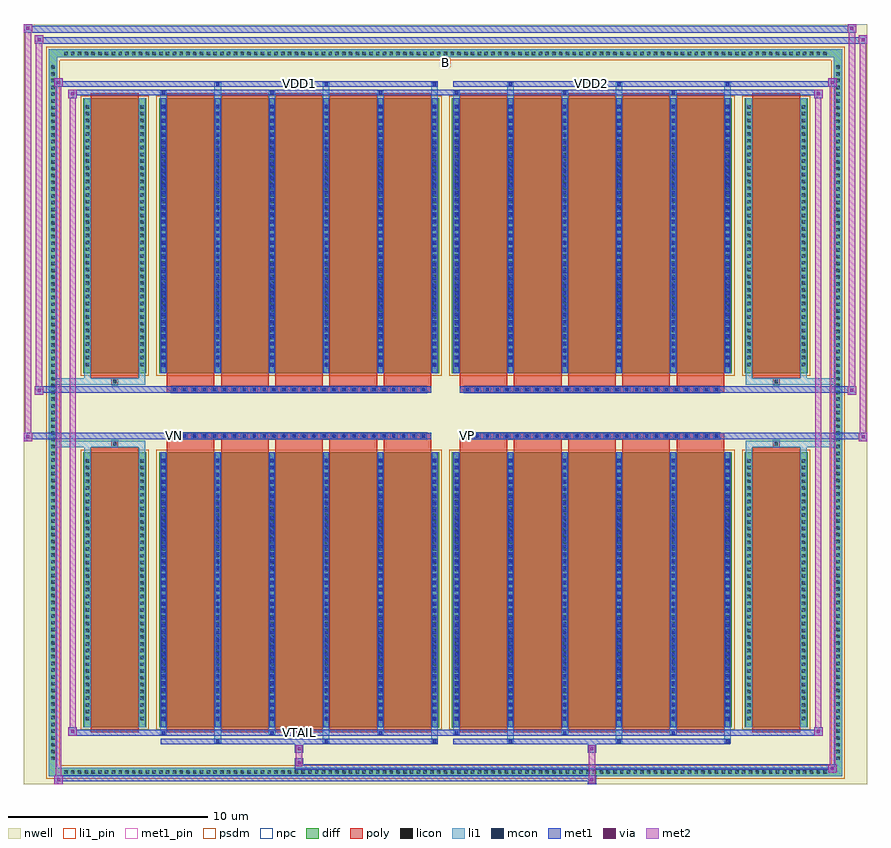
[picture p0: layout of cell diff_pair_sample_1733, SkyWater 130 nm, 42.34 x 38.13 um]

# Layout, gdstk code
import gdstk
lib = gdstk.Library(unit=1e-6, precision=5e-09)
def R(c, l, rs):  # rectangles x0, y0, x1, y1
    for r in rs: c.add(gdstk.rectangle(r[:2], r[2:], *l))
def A(c, l, x, y, w, h, nx, ny, dx, dy):  # array of equal rectangles
    R(c, l, [(x+i*dx, y+j*dy, x+i*dx+w, y+j*dy+h) for i in range(nx) for j in range(ny)])
def P(c, l, *ps):  # polygons
    for p in ps: c.add(gdstk.Polygon(p, *l))
nwell = (64, 20)
diff = (65, 20)
poly = (66, 20)
licon = (66, 44)
li1_pin = (67, 16)
li1 = (67, 20)
mcon = (67, 44)
met1_pin = (68, 16)
met1 = (68, 20)
via = (68, 44)
met2 = (69, 20)
psdm = (94, 20)
npc = (95, 20)

diff_pair_sample_1733 = lib.new_cell('diff_pair_sample_1733')
R(diff_pair_sample_1733, nwell, [(-21.17,-18.63,21.17,19.5), (-18.49,-16.82,-0.01,-0.8), (0.01,-16.82,18.49,-0.8), (-18.49,0.8,-0.01,16.82), (0.01,0.8,18.49,16.82)])
A(diff_pair_sample_1733, diff, -19.245, -18.23, 0.41, 0.41, 113, 2, 0.34, 36.05)
A(diff_pair_sample_1733, diff, -19.9, -17.545, 0.41, 0.41, 1, 103, 0, 0.34)
A(diff_pair_sample_1733, diff, 19.49, -17.545, 0.41, 0.41, 1, 103, 0, 0.34)
R(diff_pair_sample_1733, diff, [(-19.245,-18.23,19.245,-17.82), (-19.9,-17.545,-19.49,17.545), (19.49,-17.545,19.9,17.545), (-18.18,-15.775,-15.01,-1.985), (-14.37,-15.775,-0.32,-1.985), (0.32,-15.775,14.37,-1.985), (15.01,-15.775,18.18,-1.985), (-18.18,1.985,-15.01,15.775), (-14.37,1.985,-0.32,15.775), (0.32,1.985,14.37,15.775), (15.01,1.985,18.18,15.775), (-19.245,17.82,19.245,18.23)])
P(diff_pair_sample_1733, diff, [(19.9,18.23),(-19.9,18.23),(-19.9,-17.82),(-19.49,-17.82),(-19.49,17.82),(19.49,17.82),(19.49,-17.82),(-19.49,-17.82),(-19.9,-17.82),(-19.9,-18.23),(19.9,-18.23)])
A(diff_pair_sample_1733, poly, -13.98, -16.025, 2.39, 14.29, 5, 2, 2.72, 17.76)
A(diff_pair_sample_1733, poly, 0.71, -16.025, 2.39, 14.29, 5, 2, 2.72, 17.76)
A(diff_pair_sample_1733, poly, -13.98, -1.735, 2.39, 0.405, 5, 2, 2.72, 3.065)
A(diff_pair_sample_1733, poly, 0.71, -1.735, 2.39, 0.405, 5, 2, 2.72, 3.065)
A(diff_pair_sample_1733, poly, -13.76, -1.33, 0.33, 0.33, 26, 2, 0.5, 2.33)
A(diff_pair_sample_1733, poly, 0.93, -1.33, 0.33, 0.33, 26, 2, 0.5, 2.33)
R(diff_pair_sample_1733, poly, [(-17.79,-16.025,-15.4,-1.735), (15.4,-16.025,17.79,-1.735), (-16.76,-1.735,-16.43,-1.405), (-16.76,-1.735,-16.43,-1.405), (16.43,-1.735,16.76,-1.405), (16.43,-1.735,16.76,-1.405), (-13.98,-1.33,-0.71,-1), (0.71,-1.33,13.98,-1), (-13.98,1,-0.71,1.33), (0.71,1,13.98,1.33), (-16.76,1.405,-16.43,1.735), (-16.76,1.405,-16.43,1.735), (16.43,1.405,16.76,1.735), (16.43,1.405,16.76,1.735), (-17.79,1.735,-15.4,16.025), (15.4,1.735,17.79,16.025)])
A(diff_pair_sample_1733, licon, -19.125, -18.11, 0.17, 0.17, 113, 2, 0.34, 36.05)
A(diff_pair_sample_1733, licon, -19.78, -17.425, 0.17, 0.17, 1, 103, 0, 0.34)
A(diff_pair_sample_1733, licon, 19.61, -17.425, 0.17, 0.17, 1, 103, 0, 0.34)
A(diff_pair_sample_1733, licon, -18.04, -15.425, 0.17, 0.17, 1, 39, 0, 0.34)
A(diff_pair_sample_1733, licon, -15.32, -15.425, 0.17, 0.17, 1, 39, 0, 0.34)
A(diff_pair_sample_1733, licon, -14.23, -15.425, 0.17, 0.17, 6, 39, 2.72, 0.34)
A(diff_pair_sample_1733, licon, 0.46, -15.425, 0.17, 0.17, 6, 39, 2.72, 0.34)
A(diff_pair_sample_1733, licon, 15.15, -15.425, 0.17, 0.17, 1, 39, 0, 0.34)
A(diff_pair_sample_1733, licon, 17.87, -15.425, 0.17, 0.17, 1, 39, 0, 0.34)
A(diff_pair_sample_1733, licon, -13.68, -1.25, 0.17, 0.17, 26, 2, 0.5, 2.33)
A(diff_pair_sample_1733, licon, 1.01, -1.25, 0.17, 0.17, 26, 2, 0.5, 2.33)
A(diff_pair_sample_1733, licon, -18.04, 2.335, 0.17, 0.17, 1, 39, 0, 0.34)
A(diff_pair_sample_1733, licon, -15.32, 2.335, 0.17, 0.17, 1, 39, 0, 0.34)
A(diff_pair_sample_1733, licon, -14.23, 2.335, 0.17, 0.17, 6, 39, 2.72, 0.34)
A(diff_pair_sample_1733, licon, 0.46, 2.335, 0.17, 0.17, 6, 39, 2.72, 0.34)
A(diff_pair_sample_1733, licon, 15.15, 2.335, 0.17, 0.17, 1, 39, 0, 0.34)
A(diff_pair_sample_1733, licon, 17.87, 2.335, 0.17, 0.17, 1, 39, 0, 0.34)
R(diff_pair_sample_1733, licon, [(-16.68,-1.655,-16.51,-1.485), (16.51,-1.655,16.68,-1.485), (-16.68,1.485,-16.51,1.655), (16.51,1.485,16.68,1.655)])
R(diff_pair_sample_1733, li1_pin, [(-0.25,17.32,0.25,17.82)])
A(diff_pair_sample_1733, li1, -19.205, -18.19, 0.33, 0.33, 113, 2, 0.34, 36.05)
A(diff_pair_sample_1733, li1, -19.86, -17.505, 0.33, 0.33, 1, 103, 0, 0.34)
A(diff_pair_sample_1733, li1, 19.53, -17.505, 0.33, 0.33, 1, 103, 0, 0.34)
A(diff_pair_sample_1733, li1, -11.59, -16.58, 0.33, 0.805, 3, 2, 5.44, 32.355)
A(diff_pair_sample_1733, li1, -11.51, -16.58, 0.17, 0.17, 3, 2, 5.44, 32.99)
A(diff_pair_sample_1733, li1, 3.1, -16.58, 0.33, 0.805, 3, 2, 5.44, 32.355)
A(diff_pair_sample_1733, li1, 3.18, -16.58, 0.17, 0.17, 3, 2, 5.44, 32.99)
A(diff_pair_sample_1733, li1, -14.31, -16.15, 0.33, 0.375, 3, 2, 5.44, 31.925)
A(diff_pair_sample_1733, li1, -14.23, -16.15, 0.17, 0.17, 3, 2, 5.44, 32.13)
A(diff_pair_sample_1733, li1, 0.38, -16.15, 0.33, 0.375, 3, 2, 5.44, 31.925)
A(diff_pair_sample_1733, li1, 0.46, -16.15, 0.17, 0.17, 3, 2, 5.44, 32.13)
A(diff_pair_sample_1733, li1, -14.31, -15.775, 0.33, 13.79, 6, 2, 2.72, 17.76)
A(diff_pair_sample_1733, li1, 0.38, -15.775, 0.33, 13.79, 6, 2, 2.72, 17.76)
A(diff_pair_sample_1733, li1, -18.12, -15.505, 0.33, 0.33, 1, 39, 0, 0.34)
A(diff_pair_sample_1733, li1, -15.4, -15.505, 0.33, 0.33, 1, 39, 0, 0.34)
A(diff_pair_sample_1733, li1, -14.31, -15.505, 0.33, 0.33, 6, 39, 2.72, 0.34)
A(diff_pair_sample_1733, li1, 0.38, -15.505, 0.33, 0.33, 6, 39, 2.72, 0.34)
A(diff_pair_sample_1733, li1, 15.07, -15.505, 0.33, 0.33, 1, 39, 0, 0.34)
A(diff_pair_sample_1733, li1, 17.79, -15.505, 0.33, 0.33, 1, 39, 0, 0.34)
A(diff_pair_sample_1733, li1, -14.23, -15.445, 0.17, 0.17, 6, 37, 2.72, 0.36)
A(diff_pair_sample_1733, li1, -14.23, -15.445, 0.17, 13.13, 6, 2, 2.72, 17.76)
A(diff_pair_sample_1733, li1, 0.46, -15.445, 0.17, 0.17, 6, 37, 2.72, 0.36)
A(diff_pair_sample_1733, li1, 0.46, -15.445, 0.17, 13.13, 6, 2, 2.72, 17.76)
A(diff_pair_sample_1733, li1, -13.76, -1.33, 0.33, 0.33, 26, 2, 0.5, 2.33)
A(diff_pair_sample_1733, li1, 0.93, -1.33, 0.33, 0.33, 26, 2, 0.5, 2.33)
A(diff_pair_sample_1733, li1, -18.12, 2.255, 0.33, 0.33, 1, 39, 0, 0.34)
A(diff_pair_sample_1733, li1, -15.4, 2.255, 0.33, 0.33, 1, 39, 0, 0.34)
A(diff_pair_sample_1733, li1, -14.31, 2.255, 0.33, 0.33, 6, 39, 2.72, 0.34)
A(diff_pair_sample_1733, li1, 0.38, 2.255, 0.33, 0.33, 6, 39, 2.72, 0.34)
A(diff_pair_sample_1733, li1, 15.07, 2.255, 0.33, 0.33, 1, 39, 0, 0.34)
A(diff_pair_sample_1733, li1, 17.79, 2.255, 0.33, 0.33, 1, 39, 0, 0.34)
A(diff_pair_sample_1733, li1, -14.23, 2.315, 0.17, 0.17, 6, 37, 2.72, 0.36)
A(diff_pair_sample_1733, li1, 0.46, 2.315, 0.17, 0.17, 6, 37, 2.72, 0.36)
R(diff_pair_sample_1733, li1, [(-19.9,-18.23,-19.49,-17.82), (-19.9,-18.23,-19.49,-17.82), (-19.49,-18.23,19.49,-17.82), (19.49,-18.23,19.9,-17.82), (19.49,-18.23,19.9,-17.82), (-19.9,-17.82,-19.49,17.82), (19.49,-17.82,19.9,17.82), (-18.12,-15.775,-17.79,-1.985), (-15.4,-15.775,-15.07,-1.985), (15.07,-15.775,15.4,-1.985), (17.79,-15.775,18.12,-1.985), (-18.12,-1.985,-17.79,-1.405), (-15.4,-1.985,-15.07,-1.405), (15.07,-1.985,15.4,-1.405), (17.79,-1.985,18.12,-1.405), (-19.9,-1.735,-16.76,-1.405), (-18.12,-1.735,-16.76,-1.405), (-16.76,-1.735,-16.43,-1.405), (-16.43,-1.735,-15.07,-1.405), (15.07,-1.735,16.43,-1.405), (16.43,-1.735,16.76,-1.405), (16.43,-1.735,19.9,-1.405), (16.76,-1.735,18.12,-1.405), (-19.9,1.405,-16.76,1.735), (-18.12,1.405,-16.76,1.735), (-18.12,1.405,-17.79,1.985), (-16.76,1.405,-16.43,1.735), (-16.43,1.405,-15.07,1.735), (-15.4,1.405,-15.07,1.985), (15.07,1.405,16.43,1.735), (15.07,1.405,15.4,1.985), (16.43,1.405,16.76,1.735), (16.43,1.405,19.9,1.735), (16.76,1.405,18.12,1.735), (17.79,1.405,18.12,1.985), (-18.12,1.985,-17.79,15.775), (-15.4,1.985,-15.07,15.775), (15.07,1.985,15.4,15.775), (17.79,1.985,18.12,15.775), (-19.9,17.82,-19.49,18.23), (-19.9,17.82,-19.49,18.23), (-19.49,17.82,19.49,18.23), (19.49,17.82,19.9,18.23), (19.49,17.82,19.9,18.23)])
A(diff_pair_sample_1733, mcon, -11.51, -16.58, 0.17, 0.17, 3, 2, 5.44, 32.99)
A(diff_pair_sample_1733, mcon, 3.18, -16.58, 0.17, 0.17, 3, 2, 5.44, 32.99)
A(diff_pair_sample_1733, mcon, -14.23, -16.15, 0.17, 0.17, 3, 2, 5.44, 32.13)
A(diff_pair_sample_1733, mcon, 0.46, -16.15, 0.17, 0.17, 3, 2, 5.44, 32.13)
A(diff_pair_sample_1733, mcon, -14.23, -15.445, 0.17, 0.17, 6, 37, 2.72, 0.36)
A(diff_pair_sample_1733, mcon, 0.46, -15.445, 0.17, 0.17, 6, 37, 2.72, 0.36)
A(diff_pair_sample_1733, mcon, -13.68, -1.25, 0.17, 0.17, 26, 2, 0.5, 2.33)
A(diff_pair_sample_1733, mcon, 1.01, -1.25, 0.17, 0.17, 26, 2, 0.5, 2.33)
A(diff_pair_sample_1733, mcon, -14.23, 2.315, 0.17, 0.17, 6, 37, 2.72, 0.36)
A(diff_pair_sample_1733, mcon, 0.46, 2.315, 0.17, 0.17, 6, 37, 2.72, 0.36)
R(diff_pair_sample_1733, met1_pin, [(-7.48,-16.19,-7.21,-15.92), (-13.73,-1.29,-13.46,-1.02), (0.96,-1.29,1.23,-1.02), (-7.48,16.37,-7.21,16.64), (7.21,16.37,7.48,16.64)])
A(diff_pair_sample_1733, met1, -11.57, -16.64, 0.29, 0.29, 3, 2, 5.44, 32.99)
A(diff_pair_sample_1733, met1, 3.12, -16.64, 0.29, 0.29, 3, 2, 5.44, 32.99)
A(diff_pair_sample_1733, met1, -14.29, -16.21, 0.29, 0.29, 3, 2, 5.44, 32.13)
A(diff_pair_sample_1733, met1, 0.4, -16.21, 0.29, 0.29, 3, 2, 5.44, 32.13)
A(diff_pair_sample_1733, met1, -14.29, -15.775, 0.29, 13.79, 6, 2, 2.72, 17.76)
A(diff_pair_sample_1733, met1, 0.4, -15.775, 0.29, 13.79, 6, 2, 2.72, 17.76)
A(diff_pair_sample_1733, met1, -14.29, -15.505, 0.29, 0.29, 6, 37, 2.72, 0.36)
A(diff_pair_sample_1733, met1, 0.4, -15.505, 0.29, 0.29, 6, 37, 2.72, 0.36)
A(diff_pair_sample_1733, met1, -13.74, -1.31, 0.29, 0.29, 26, 2, 0.5, 2.33)
A(diff_pair_sample_1733, met1, 0.95, -1.31, 0.29, 0.29, 26, 2, 0.5, 2.33)
A(diff_pair_sample_1733, met1, -14.29, 2.255, 0.29, 0.29, 6, 37, 2.72, 0.36)
A(diff_pair_sample_1733, met1, 0.4, 2.255, 0.29, 0.29, 6, 37, 2.72, 0.36)
R(diff_pair_sample_1733, met1, [(-19.63,-18.63,-19.2,-18.2), (7.13,-18.63,7.56,-18.2), (-19.63,-18.49,7.56,-18.2), (19.2,-18.06,19.63,-17.63), (-7.56,-17.92,19.63,-17.63), (-7.56,-17.78,-7.13,-17.35), (-7.56,-17.07,-7.13,-16.64), (7.13,-17.07,7.56,-16.64), (-14.29,-16.64,-0.4,-16.35), (0.4,-16.64,14.29,-16.35), (-18.92,-16.21,-18.49,-15.78), (-18.92,-16.21,-14.29,-15.92), (-14.29,-16.21,-0.4,-15.92), (-0.4,-16.21,0.4,-15.92), (0.4,-16.21,14.29,-15.92), (14.29,-16.21,18.92,-15.92), (18.49,-16.21,18.92,-15.78), (-21.17,-1.43,-20.74,-1), (20.74,-1.43,21.17,-1), (-21.17,-1.33,-0.71,-1), (-13.98,-1.33,-0.71,-1), (0.71,-1.33,13.98,-1), (0.71,-1.33,21.17,-1), (-20.6,0.9,-20.17,1.33), (20.17,0.9,20.6,1.33), (-20.6,1,-13.98,1.33), (-13.98,1,-0.71,1.33), (0.71,1,13.98,1.33), (13.98,1,20.6,1.33), (-18.92,15.78,-18.49,16.21), (18.49,15.78,18.92,16.21), (-18.92,15.92,-14.29,16.21), (-14.29,15.92,-0.4,16.21), (-0.4,15.92,0.4,16.21), (0.4,15.92,14.29,16.21), (14.29,15.92,18.92,16.21), (-19.63,16.35,-19.2,16.78), (-19.63,16.35,-14.29,16.64), (-14.29,16.35,-0.4,16.64), (0.4,16.35,14.29,16.64), (14.29,16.35,19.63,16.64), (19.2,16.35,19.63,16.78), (-20.6,18.5,-20.17,18.93), (-20.6,18.5,-18.49,18.83), (-18.49,18.5,18.49,18.83), (18.49,18.5,21.17,18.83), (20.74,18.5,21.17,18.93), (-21.17,19.07,-20.74,19.5), (-21.17,19.07,-18.49,19.4), (-18.49,19.07,18.49,19.4), (18.49,19.07,20.6,19.4), (20.17,19.07,20.6,19.5)])
R(diff_pair_sample_1733, via, [(-19.49,-18.49,-19.34,-18.34), (7.27,-18.49,7.42,-18.34), (19.34,-17.92,19.49,-17.77), (-7.42,-17.64,-7.27,-17.49), (-7.42,-16.93,-7.27,-16.78), (7.27,-16.93,7.42,-16.78), (-18.78,-16.07,-18.63,-15.92), (18.63,-16.07,18.78,-15.92), (-21.03,-1.29,-20.88,-1.14), (20.88,-1.29,21.03,-1.14), (-20.46,1.04,-20.31,1.19), (20.31,1.04,20.46,1.19), (-18.78,15.92,-18.63,16.07), (18.63,15.92,18.78,16.07), (-19.49,16.49,-19.34,16.64), (19.34,16.49,19.49,16.64), (-20.46,18.64,-20.31,18.79), (20.88,18.64,21.03,18.79), (-21.03,19.21,-20.88,19.36), (20.31,19.21,20.46,19.36)])
R(diff_pair_sample_1733, met2, [(-19.63,-18.63,-19.2,-18.2), (-19.56,-18.63,-19.27,16.78), (-19.27,-18.63,-19.2,-18.2), (-19.58,-18.58,-19.25,-18.25), (7.18,-18.58,7.51,-18.25), (7.18,-18.25,7.51,-17.02), (19.2,-18.06,19.63,-17.63), (19.27,-18.06,19.56,16.78), (19.56,-18.06,19.63,-17.63), (19.25,-18.01,19.58,-17.68), (-7.51,-17.73,-7.18,-17.4), (-7.51,-17.4,-7.18,-17.02), (-7.51,-17.02,-7.18,-16.69), (7.18,-17.02,7.51,-16.69), (-18.92,-16.21,-18.49,-15.78), (-18.85,-16.21,-18.56,16.21), (-18.56,-16.21,-18.49,-15.78), (18.49,-16.21,18.92,-15.78), (18.56,-16.21,18.85,16.21), (18.85,-16.21,18.92,-15.78), (-18.87,-16.16,-18.54,-15.83), (18.54,-16.16,18.87,-15.83), (-21.17,-1.43,-20.74,-1), (-21.12,-1.43,-20.79,19.5), (-20.79,-1.43,-20.74,-1), (20.74,-1.43,21.17,-1), (20.79,-1.43,21.12,18.93), (21.12,-1.43,21.17,-1), (-21.12,-1.38,-20.79,-1.05), (20.79,-1.38,21.12,-1.05), (-20.6,0.9,-20.17,1.33), (-20.55,0.9,-20.22,18.93), (-20.22,0.9,-20.17,1.33), (20.17,0.9,20.6,1.33), (20.22,0.9,20.55,19.5), (20.55,0.9,20.6,1.33), (-20.55,0.95,-20.22,1.28), (20.22,0.95,20.55,1.28), (-18.92,15.78,-18.49,16.21), (-18.56,15.78,-18.49,16.21), (18.49,15.78,18.92,16.21), (18.85,15.78,18.92,16.21), (-18.87,15.83,-18.54,16.16), (18.54,15.83,18.87,16.16), (-19.63,16.35,-19.2,16.78), (-19.27,16.35,-19.2,16.78), (19.2,16.35,19.63,16.78), (19.56,16.35,19.63,16.78), (-19.58,16.4,-19.25,16.73), (19.25,16.4,19.58,16.73), (-20.6,18.5,-20.17,18.93), (-20.22,18.5,-20.17,18.93), (20.74,18.5,21.17,18.93), (21.12,18.5,21.17,18.93), (-20.55,18.55,-20.22,18.88), (20.79,18.55,21.12,18.88), (-21.17,19.07,-20.74,19.5), (-20.79,19.07,-20.74,19.5), (20.17,19.07,20.6,19.5), (20.55,19.07,20.6,19.5), (-21.12,19.12,-20.79,19.45), (20.22,19.12,20.55,19.45)])
R(diff_pair_sample_1733, psdm, [(-18.31,-15.905,-14.88,-1.855), (-14.5,-15.905,-0.19,-1.855), (0.19,-15.905,14.5,-1.855), (14.88,-15.905,18.31,-1.855), (-18.31,1.855,-14.88,15.905), (-14.5,1.855,-0.19,15.905), (0.19,1.855,14.5,15.905), (14.88,1.855,18.31,15.905)])
P(diff_pair_sample_1733, psdm, [(20.03,18.36),(-20.03,18.36),(-20.03,-17.69),(-19.36,-17.69),(-19.36,17.69),(19.36,17.69),(19.36,-17.69),(-19.36,-17.69),(-20.03,-17.69),(-20.03,-18.36),(20.03,-18.36)])
A(diff_pair_sample_1733, npc, -13.78, -1.35, 0.37, 0.37, 26, 2, 0.5, 2.33)
A(diff_pair_sample_1733, npc, 0.91, -1.35, 0.37, 0.37, 26, 2, 0.5, 2.33)
R(diff_pair_sample_1733, npc, [(-16.78,-1.755,-16.41,-1.385), (16.41,-1.755,16.78,-1.385), (-13.78,-1.35,-12.91,-0.98), (-13.78,-1.35,-12.91,-0.98), (-13.28,-1.35,-12.41,-0.98), (-13.28,-1.35,-12.41,-0.98), (-12.78,-1.35,-11.91,-0.98), (-12.78,-1.35,-11.91,-0.98), (-12.28,-1.35,-11.41,-0.98), (-12.28,-1.35,-11.41,-0.98), (-11.78,-1.35,-10.91,-0.98), (-11.78,-1.35,-10.91,-0.98), (-11.28,-1.35,-10.41,-0.98), (-11.28,-1.35,-10.41,-0.98), (-10.78,-1.35,-9.91,-0.98), (-10.78,-1.35,-9.91,-0.98), (-10.28,-1.35,-9.41,-0.98), (-10.28,-1.35,-9.41,-0.98), (-9.78,-1.35,-8.91,-0.98), (-9.78,-1.35,-8.91,-0.98), (-9.28,-1.35,-8.41,-0.98), (-9.28,-1.35,-8.41,-0.98), (-8.78,-1.35,-7.91,-0.98), (-8.78,-1.35,-7.91,-0.98), (-8.28,-1.35,-7.41,-0.98), (-8.28,-1.35,-7.41,-0.98), (-7.78,-1.35,-6.91,-0.98), (-7.78,-1.35,-6.91,-0.98), (-7.28,-1.35,-6.41,-0.98), (-7.28,-1.35,-6.41,-0.98), (-6.78,-1.35,-5.91,-0.98), (-6.78,-1.35,-5.91,-0.98), (-6.28,-1.35,-5.41,-0.98), (-6.28,-1.35,-5.41,-0.98), (-5.78,-1.35,-4.91,-0.98), (-5.78,-1.35,-4.91,-0.98), (-5.28,-1.35,-4.41,-0.98), (-5.28,-1.35,-4.41,-0.98), (-4.78,-1.35,-3.91,-0.98), (-4.78,-1.35,-3.91,-0.98), (-4.28,-1.35,-3.41,-0.98), (-4.28,-1.35,-3.41,-0.98), (-3.78,-1.35,-2.91,-0.98), (-3.78,-1.35,-2.91,-0.98), (-3.28,-1.35,-2.41,-0.98), (-3.28,-1.35,-2.41,-0.98), (-2.78,-1.35,-1.91,-0.98), (-2.78,-1.35,-1.91,-0.98), (-2.28,-1.35,-1.41,-0.98), (-2.28,-1.35,-1.41,-0.98), (-1.78,-1.35,-0.91,-0.98), (-1.78,-1.35,-0.91,-0.98), (0.91,-1.35,1.78,-0.98), (0.91,-1.35,1.78,-0.98), (1.41,-1.35,2.28,-0.98), (1.41,-1.35,2.28,-0.98), (1.91,-1.35,2.78,-0.98), (1.91,-1.35,2.78,-0.98), (2.41,-1.35,3.28,-0.98), (2.41,-1.35,3.28,-0.98), (2.91,-1.35,3.78,-0.98), (2.91,-1.35,3.78,-0.98), (3.41,-1.35,4.28,-0.98), (3.41,-1.35,4.28,-0.98), (3.91,-1.35,4.78,-0.98), (3.91,-1.35,4.78,-0.98), (4.41,-1.35,5.28,-0.98), (4.41,-1.35,5.28,-0.98), (4.91,-1.35,5.78,-0.98), (4.91,-1.35,5.78,-0.98), (5.41,-1.35,6.28,-0.98), (5.41,-1.35,6.28,-0.98), (5.91,-1.35,6.78,-0.98), (5.91,-1.35,6.78,-0.98), (6.41,-1.35,7.28,-0.98), (6.41,-1.35,7.28,-0.98), (6.91,-1.35,7.78,-0.98), (6.91,-1.35,7.78,-0.98), (7.41,-1.35,8.28,-0.98), (7.41,-1.35,8.28,-0.98), (7.91,-1.35,8.78,-0.98), (7.91,-1.35,8.78,-0.98), (8.41,-1.35,9.28,-0.98), (8.41,-1.35,9.28,-0.98), (8.91,-1.35,9.78,-0.98), (8.91,-1.35,9.78,-0.98), (9.41,-1.35,10.28,-0.98), (9.41,-1.35,10.28,-0.98), (9.91,-1.35,10.78,-0.98), (9.91,-1.35,10.78,-0.98), (10.41,-1.35,11.28,-0.98), (10.41,-1.35,11.28,-0.98), (10.91,-1.35,11.78,-0.98), (10.91,-1.35,11.78,-0.98), (11.41,-1.35,12.28,-0.98), (11.41,-1.35,12.28,-0.98), (11.91,-1.35,12.78,-0.98), (11.91,-1.35,12.78,-0.98), (12.41,-1.35,13.28,-0.98), (12.41,-1.35,13.28,-0.98), (12.91,-1.35,13.78,-0.98), (12.91,-1.35,13.78,-0.98), (-13.78,0.98,-12.91,1.35), (-13.78,0.98,-12.91,1.35), (-13.28,0.98,-12.41,1.35), (-13.28,0.98,-12.41,1.35), (-12.78,0.98,-11.91,1.35), (-12.78,0.98,-11.91,1.35), (-12.28,0.98,-11.41,1.35), (-12.28,0.98,-11.41,1.35), (-11.78,0.98,-10.91,1.35), (-11.78,0.98,-10.91,1.35), (-11.28,0.98,-10.41,1.35), (-11.28,0.98,-10.41,1.35), (-10.78,0.98,-9.91,1.35), (-10.78,0.98,-9.91,1.35), (-10.28,0.98,-9.41,1.35), (-10.28,0.98,-9.41,1.35), (-9.78,0.98,-8.91,1.35), (-9.78,0.98,-8.91,1.35), (-9.28,0.98,-8.41,1.35), (-9.28,0.98,-8.41,1.35), (-8.78,0.98,-7.91,1.35), (-8.78,0.98,-7.91,1.35), (-8.28,0.98,-7.41,1.35), (-8.28,0.98,-7.41,1.35), (-7.78,0.98,-6.91,1.35), (-7.78,0.98,-6.91,1.35), (-7.28,0.98,-6.41,1.35), (-7.28,0.98,-6.41,1.35), (-6.78,0.98,-5.91,1.35), (-6.78,0.98,-5.91,1.35), (-6.28,0.98,-5.41,1.35), (-6.28,0.98,-5.41,1.35), (-5.78,0.98,-4.91,1.35), (-5.78,0.98,-4.91,1.35), (-5.28,0.98,-4.41,1.35), (-5.28,0.98,-4.41,1.35), (-4.78,0.98,-3.91,1.35), (-4.78,0.98,-3.91,1.35), (-4.28,0.98,-3.41,1.35), (-4.28,0.98,-3.41,1.35), (-3.78,0.98,-2.91,1.35), (-3.78,0.98,-2.91,1.35), (-3.28,0.98,-2.41,1.35), (-3.28,0.98,-2.41,1.35), (-2.78,0.98,-1.91,1.35), (-2.78,0.98,-1.91,1.35), (-2.28,0.98,-1.41,1.35), (-2.28,0.98,-1.41,1.35), (-1.78,0.98,-0.91,1.35), (-1.78,0.98,-0.91,1.35), (0.91,0.98,1.78,1.35), (0.91,0.98,1.78,1.35), (1.41,0.98,2.28,1.35), (1.41,0.98,2.28,1.35), (1.91,0.98,2.78,1.35), (1.91,0.98,2.78,1.35), (2.41,0.98,3.28,1.35), (2.41,0.98,3.28,1.35), (2.91,0.98,3.78,1.35), (2.91,0.98,3.78,1.35), (3.41,0.98,4.28,1.35), (3.41,0.98,4.28,1.35), (3.91,0.98,4.78,1.35), (3.91,0.98,4.78,1.35), (4.41,0.98,5.28,1.35), (4.41,0.98,5.28,1.35), (4.91,0.98,5.78,1.35), (4.91,0.98,5.78,1.35), (5.41,0.98,6.28,1.35), (5.41,0.98,6.28,1.35), (5.91,0.98,6.78,1.35), (5.91,0.98,6.78,1.35), (6.41,0.98,7.28,1.35), (6.41,0.98,7.28,1.35), (6.91,0.98,7.78,1.35), (6.91,0.98,7.78,1.35), (7.41,0.98,8.28,1.35), (7.41,0.98,8.28,1.35), (7.91,0.98,8.78,1.35), (7.91,0.98,8.78,1.35), (8.41,0.98,9.28,1.35), (8.41,0.98,9.28,1.35), (8.91,0.98,9.78,1.35), (8.91,0.98,9.78,1.35), (9.41,0.98,10.28,1.35), (9.41,0.98,10.28,1.35), (9.91,0.98,10.78,1.35), (9.91,0.98,10.78,1.35), (10.41,0.98,11.28,1.35), (10.41,0.98,11.28,1.35), (10.91,0.98,11.78,1.35), (10.91,0.98,11.78,1.35), (11.41,0.98,12.28,1.35), (11.41,0.98,12.28,1.35), (11.91,0.98,12.78,1.35), (11.91,0.98,12.78,1.35), (12.41,0.98,13.28,1.35), (12.41,0.98,13.28,1.35), (12.91,0.98,13.78,1.35), (12.91,0.98,13.78,1.35), (-16.78,1.385,-16.41,1.755), (16.41,1.385,16.78,1.755)])
diff_pair_sample_1733.add(gdstk.Label('VTAIL', (-7.345,-16.055), layer=68, texttype=5))
diff_pair_sample_1733.add(gdstk.Label('VN', (-13.595,-1.155), layer=68, texttype=5))
diff_pair_sample_1733.add(gdstk.Label('VP', (1.095,-1.155), layer=68, texttype=5))
diff_pair_sample_1733.add(gdstk.Label('B', (0,17.57), layer=67, texttype=5))
diff_pair_sample_1733.add(gdstk.Label('VDD2', (7.345,16.505), layer=68, texttype=5))
diff_pair_sample_1733.add(gdstk.Label('VDD1', (-7.345,16.505), layer=68, texttype=5))

lib.write_gds('diff_pair_sample_1733.gds')
